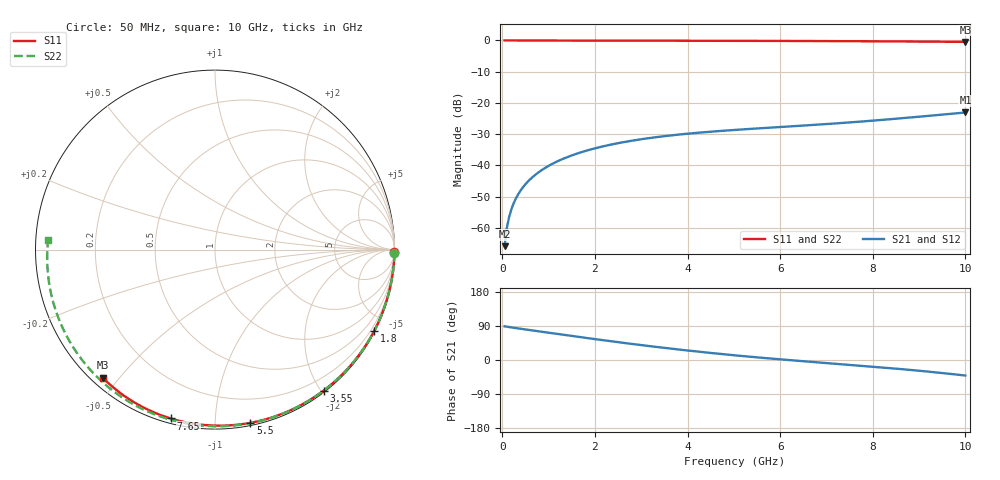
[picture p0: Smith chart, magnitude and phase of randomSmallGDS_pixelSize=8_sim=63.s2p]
! freq	dB(S11)	phase(S11)	dB(S12)	phase(S12)
!  dB(S21)	phase(S21)	dB(S22)	phase(S22)
!S-par simulation data
#  GHz  S  DB  R 50
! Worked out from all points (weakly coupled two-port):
!   200 points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, 50 MHz to 10 GHz, reference 50 ohm
!   highest |S21| = -23.06 dB at 10 GHz (marker M1); lowest = -65.9 dB at 50 MHz (marker M2)
!   lowest |S11| = -0.5 dB at 10 GHz (marker M3), VSWR 38.38, Z = 1.57 - j22.7 ohm
!   |S11| at or under -10 dB: nowhere
!   |S22| runs from -0.6 to 0.0 dB; largest |S21 - S12| = 0
!   S11 on the Smith chart (normalised r, x): 50 MHz: open; 1.8 GHz: 0.04, -4.13; 3.55 GHz: 0.02, -2.03; 5.5 GHz: 0.02, -1.22; 7.65 GHz: 0.02, -0.77; 10 GHz: 0.03, -0.45
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0.05  -0.00 -0.8  -65.86 88.9  -65.86 88.9  -0.00 -1.0
0.1  -0.00 -1.5  -59.85 87.9  -59.85 87.9  -0.00 -2.0
0.15  -0.00 -2.3  -56.35 86.8  -56.35 86.8  -0.00 -3.1
0.2  -0.00 -3.1  -53.88 85.9  -53.88 85.9  -0.00 -4.1
0.35  -0.00 -5.4  -49.08 83.2  -49.08 83.2  -0.01 -7.2
0.5  -0.01 -7.7  -46.03 80.6  -46.03 80.6  -0.01 -10.2
0.7  -0.01 -10.7  -43.16 77.1  -43.16 77.1  -0.02 -14.2
1  -0.02 -15.3  -40.15 72.0  -40.15 72.0  -0.03 -20.3
1.35  -0.03 -20.5  -37.66 66.0  -37.66 66.0  -0.04 -27.2
1.75  -0.03 -26.5  -35.57 59.3  -35.57 59.3  -0.05 -35.1
1.8  -0.04 -27.2  -35.35 58.4  -35.35 58.4  -0.05 -36.1
2.6  -0.05 -38.9  -32.60 45.5  -32.60 45.5  -0.07 -51.6
3.4  -0.07 -50.3  -30.82 33.4  -30.82 33.4  -0.09 -66.5
3.55  -0.07 -52.4  -30.55 31.3  -30.55 31.3  -0.10 -69.3
4.3  -0.09 -62.7  -29.45 21.1  -29.45 21.1  -0.12 -82.7
5.05  -0.12 -72.7  -28.61 12.0  -28.61 12.0  -0.15 -95.8
5.5  -0.13 -78.5  -28.17 7.0  -28.17 7.0  -0.18 -103.6
6.7  -0.18 -93.4  -27.06 -5.1  -27.06 -5.1  -0.25 -123.8
7.65  -0.24 -104.7  -26.08 -14.1  -26.08 -14.1  -0.33 -139.9
8.35  -0.29 -112.7  -25.25 -21.1  -25.25 -21.1  -0.40 -152.0
9.2  -0.37 -122.3  -24.15 -30.7  -24.15 -30.7  -0.50 -167.5
10  -0.45 -131.2  -23.06 -41.0  -23.06 -41.0  -0.62 176.8
